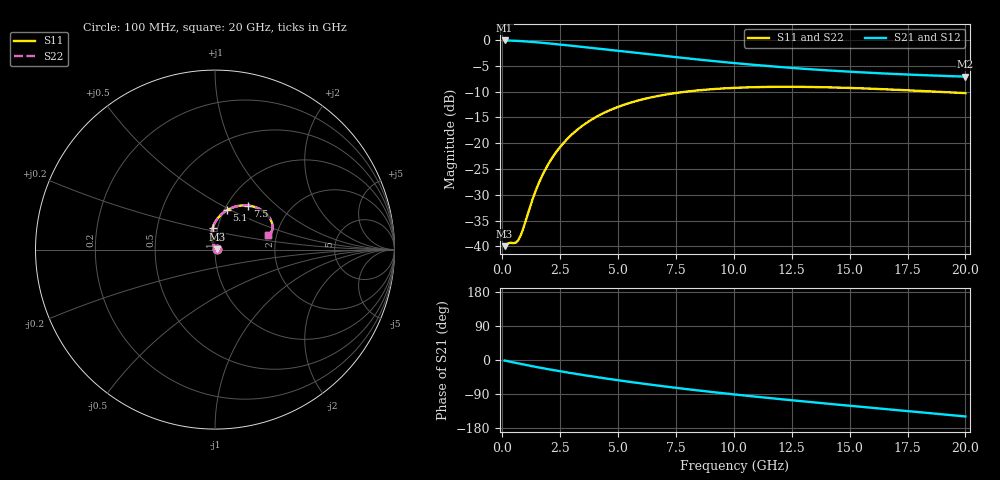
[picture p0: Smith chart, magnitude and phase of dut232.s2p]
! Touchstone file exported from HFSS 2024.1.0
!  File:  C:/UserFiles/LocalFiles/RDL_TSV_Batchsim/temp_RDL_TSV_232_1779451995.aedt
!  Generated:  08:27:28 PM May 22, 2026
!  Design:  RDL_TSV
!  Project:  temp_RDL_TSV_232_1779451995
!  Setup:  Setup1
!  Solution:  Sweep
! Variables:
!  dtsv = 7.6um
!  hbump = 3um
!  htsv = 52.26um
!  ldown = 122.96um
!  lrdl = 477.36um
!  p = 40
!  p1 = 57.96um
!  rhole = 10um
!  subl = 2278.32um
!  t = 450um
!  tdown = 3.19um
!  trdl = 3.28um
!  viad = 10um
!  wdown = 25.22um
!  wrdl = 29.37um
!  xbump = 18um
# GHz S MA R 50.000000
! Terminal data exported
! Port[1] = TM1_1_T1
! Port[2] = TM1_4_T1
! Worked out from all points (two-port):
!   200 points, 100 MHz to 20 GHz, reference 50 ohm
!   highest |S21| = -0.09 dB at 100 MHz (marker M1); lowest = -7.1 dB at 20 GHz (marker M2)
!   |S21| within 3 dB of the highest: start of sweep to 7.005 GHz
!   lowest |S11| = -40.0 dB at 100 MHz (marker M3), VSWR 1.02, Z = 51 + j0.186 ohm
!   |S11| at or under -10 dB: start of sweep to 7.961 GHz; 18.66 GHz to end of sweep
!   |S22| runs from -40.0 to -9.1 dB; largest |S21 - S12| = 9.2e-15
!   S11 on the Smith chart (normalised r, x): 100 MHz: 1.02, +0.00; 3 GHz: 0.95, +0.23; 5.1 GHz: 1.03, +0.48; 7.5 GHz: 1.25, +0.68; 20 GHz: 1.79, +0.33
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0.1  0.01005 10.5  0.9898 -1.4  0.9898 -1.4  0.01005 10.5
! Gamma 0 0 0 0
! Port Impedance 50 0 50 0
0.3  0.0108 24.9  0.987 -4.0  0.987 -4.0  0.0108 24.9
0.6  0.01092 51.7  0.9809 -7.8  0.9809 -7.8  0.01092 51.7
0.7  0.01156 63.5  0.9783 -9.1  0.9783 -9.1  0.01156 63.5
0.9  0.01482 84.6  0.9724 -11.6  0.9724 -11.6  0.01483 84.7
1.2  0.02428 101.7  0.9618 -15.3  0.9618 -15.3  0.02429 101.7
1.4  0.03267 106.1  0.9538 -17.6  0.9538 -17.6  0.03268 106.1
1.8  0.05247 107.5  0.9362 -22.2  0.9362 -22.2  0.05249 107.5
2.3  0.0804 104.0  0.9127 -27.7  0.9127 -27.7  0.08043 103.9
2.6  0.09787 100.8  0.8983 -30.8  0.8983 -30.8  0.0979 100.8
3  0.1212 96.2  0.879 -34.9  0.879 -34.9  0.1213 96.2
3.5  0.1498 90.4  0.8551 -39.7  0.8551 -39.7  0.1498 90.4
4.2  0.1871 82.5  0.8222 -46.3  0.8222 -46.3  0.1871 82.5
5.1  0.2292 73.2  0.7812 -54.3  0.7812 -54.3  0.2292 73.2
6.8  0.2889 58.4  0.7088 -68.2  0.7088 -68.2  0.289 58.4
7.5  0.3066 53.2  0.6815 -73.5  0.6815 -73.5  0.3066 53.2
8.8  0.3303 44.9  0.6353 -82.7  0.6353 -82.7  0.3303 44.9
10.1  0.3443 37.9  0.5952 -91.4  0.5952 -91.4  0.3444 37.9
11.7  0.3515 30.9  0.554 -101.4  0.554 -101.4  0.3516 30.9
13.4  0.3503 25.1  0.519 -111.5  0.519 -111.5  0.3504 25.1
16.7  0.3318 17.8  0.4713 -130.3  0.4713 -130.3  0.3319 17.8
20  0.3058 15.8  0.4417 -149.0  0.4417 -149.0  0.3059 15.8
